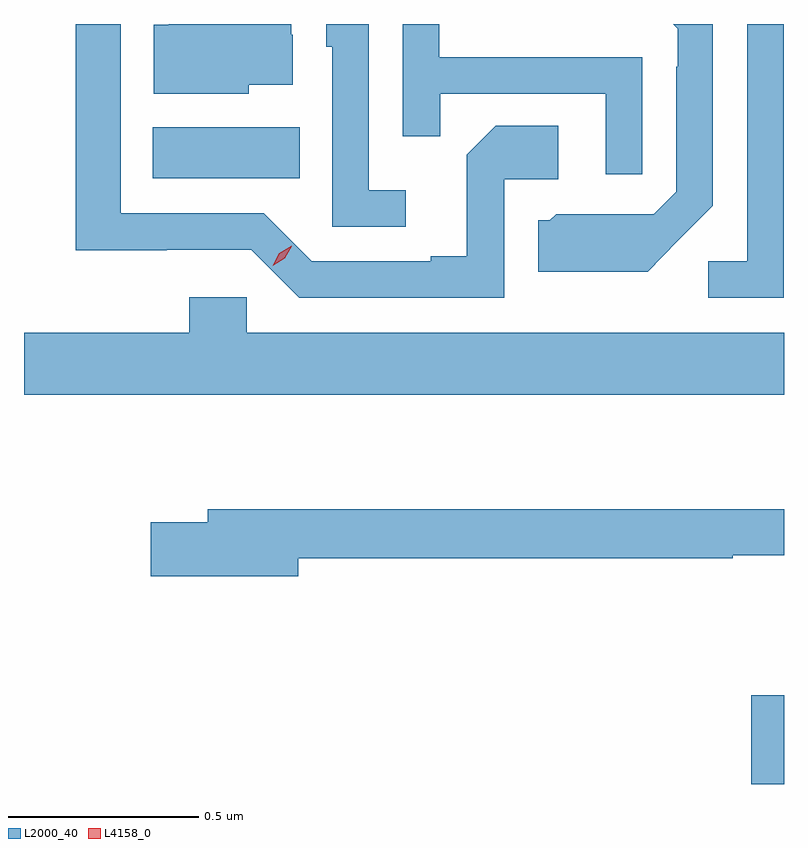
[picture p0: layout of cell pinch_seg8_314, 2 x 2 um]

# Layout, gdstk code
import gdstk
lib = gdstk.Library(unit=1e-6, precision=1e-09)
def R(c, l, rs):  # rectangles x0, y0, x1, y1
    for r in rs: c.add(gdstk.rectangle(r[:2], r[2:], *l))
def P(c, l, *ps):  # polygons
    for p in ps: c.add(gdstk.Polygon(p, *l))
L2000_40 = (2000, 40)
L4158_0 = (4158, 0)

pinch_seg8_314 = lib.new_cell('pinch_seg8_314')
R(pinch_seg8_314, L2000_40, [(516.344,1154.104,516.43,1154.338), (514.769,1155.698,515.156,1155.832)])
P(pinch_seg8_314, L2000_40, [(515.694,1155.696),(515.836,1155.696),(515.836,1155.836),(515.671,1155.836),(515.595,1155.76),(515.595,1155.493),(515.501,1155.493),(515.501,1155.48),(515.187,1155.48),(515.061,1155.606),(514.684,1155.606),(514.684,1156.104),(514.566,1156.104),(514.566,1155.509),(514.806,1155.509),(514.806,1155.51),(515.028,1155.51),(515.154,1155.384),(515.694,1155.384)],
  [(516.429,1156.104),(516.333,1156.104),(516.333,1155.48),(516.231,1155.48),(516.231,1155.384),(516.429,1155.384)],
  [(516.151,1155.533),(516.243,1155.626),(516.243,1156.104),(516.138,1156.104),(516.15,1156.092),(516.15,1155.992),(516.147,1155.992),(516.147,1155.663),(516.087,1155.603),(515.964,1155.603),(515.964,1155.604),(515.83,1155.604),(515.814,1155.588),(515.783,1155.588),(515.783,1155.452),(516.071,1155.452)],
  [(515.022,1155.944),(515.137,1155.944),(515.137,1156.076),(515.133,1156.076),(515.133,1156.104),(514.811,1156.104),(514.811,1156.102),(514.772,1156.102),(514.772,1155.92),(515.022,1155.92)],
  [(516.057,1156.017),(515.523,1156.017),(515.523,1156.104),(515.427,1156.104),(515.427,1155.808),(515.525,1155.808),(515.525,1155.921),(515.961,1155.921),(515.961,1155.708),(516.057,1155.708)],
  [(515.434,1155.667),(515.337,1155.667),(515.337,1156.104),(515.226,1156.104),(515.226,1156.044),(515.241,1156.044),(515.241,1155.57),(515.434,1155.57)],
  [(516.43,1155.292),(515.016,1155.292),(515.016,1155.385),(514.865,1155.385),(514.865,1155.292),(514.43,1155.292),(514.43,1155.128),(516.43,1155.128)],
  [(515.152,1154.698),(516.295,1154.698),(516.295,1154.706),(516.43,1154.706),(516.43,1154.827),(514.913,1154.827),(514.913,1154.793),(514.764,1154.793),(514.764,1154.651),(515.152,1154.651)])
P(pinch_seg8_314, L4158_0, [(515.084,1155.468),(515.084,1155.468),(515.102,1155.501),(515.134,1155.52),(515.134,1155.52),(515.134,1155.519),(515.116,1155.487),(515.084,1155.468)])

lib.write_gds('pinch_seg8_314.gds')
